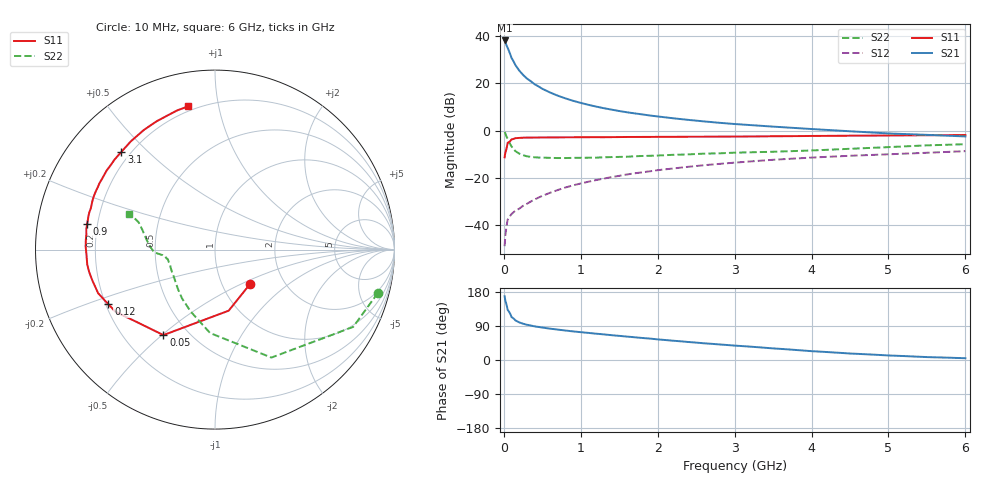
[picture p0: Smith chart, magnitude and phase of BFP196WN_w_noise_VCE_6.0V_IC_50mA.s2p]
! Infineon Technologies  Discrete & RF Semiconductors
! BFP196WN
! VCE =  6.0 V,  IC =  50 mA
! Common Emitter S-Parameters:  Jan 2017
# GHz  S  MA  R  50
!  f  S11  S21  S12  S22
! GHz  MAG  ANG  MAG  ANG  MAG  ANG  MAG  ANG
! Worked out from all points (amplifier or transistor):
!   77 points, 10 MHz to 6 GHz, reference 50 ohm
!   highest |S21| = 38.2 dB at 10 MHz (marker M1)
!   |S21| within 3 dB of that: start of sweep to 47.48 MHz
!   unconditionally stable (mu >= 1): 633.6 MHz to 2.673 GHz
!   at 130 MHz: K = 0.54, MSG = 31.8 dB, |S12| = -34.4 dB
!   at 2.2 GHz: K = 1.02, MAG = 9.7 dB, |S12| = -16.0 dB
!   at 6 GHz: K = 0.91, MSG = 3.1 dB, |S12| = -8.6 dB
!   lowest NFmin = 1.27 dB at 450 MHz
!   S11 on the Smith chart (normalised r, x): 10 MHz: 1.35, -0.56; 50 MHz: 0.37, -0.51; 120 MHz: 0.21, -0.23; 900 MHz: 0.16, +0.10; 3.1 GHz: 0.17, +0.42; 6 GHz: 0.17, +0.82
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0.01  0.274 -44.9  81.49 168.3  0.0036 80.8  0.9391 -14.9
0.02  0.3488 -77.4  74.82 156.3  0.0061 75.4  0.8823 -29.2
0.05  0.5562 -121.1  56.53 132.0  0.0132 51.6  0.6788 -62.4
0.1  0.6546 -148.2  34.79 113.3  0.0172 48.6  0.4655 -93.4
0.12  0.6676 -152.9  30.64 110.5  0.0184 48.7  0.4224 -99.7
0.15  0.6949 -159.5  24.61 104.6  0.0203 48.8  0.3699 -111.6
0.2  0.7049 -166.0  18.79 99.3  0.0224 53.5  0.3284 -124.0
0.25  0.7124 -170.1  15.2 95.7  0.0257 55.3  0.3041 -132.2
0.3  0.7166 -173.4  12.74 93.0  0.0284 57.7  0.2875 -139.1
0.4  0.7169 -178.1  9.64 88.7  0.035 61.9  0.2739 -147.5
0.5  0.7208 178.6  7.73 85.6  0.0418 64.2  0.2693 -153.6
0.6  0.7217 175.7  6.458 82.7  0.0485 65.4  0.2668 -158.0
0.7  0.7217 173.4  5.53 80.3  0.0555 67.6  0.2642 -160.9
0.9  0.7266 168.8  4.302 75.5  0.0698 67.8  0.2666 -164.9
1.1  0.7295 165.2  3.531 71.5  0.0834 68.1  0.2682 -168.0
1.3  0.7292 161.6  2.998 67.6  0.097 67.5  0.2739 -169.5
1.5  0.7347 158.4  2.612 63.7  0.111 66.8  0.2792 -171.9
2.1  0.7425 148.6  1.92 52.7  0.1525 63.4  0.3039 -174.8
3.1  0.7542 133.7  1.353 36.7  0.2173 55.6  0.3463 -179.3
4.1  0.7768 119.4  1.063 22.2  0.275 47.2  0.3883 171.0
5.1  0.7947 108.6  0.864 11.2  0.322 39.6  0.4579 160.0
6  0.8123 100.6  0.757 4.7  0.3695 33.7  0.5177 157.4
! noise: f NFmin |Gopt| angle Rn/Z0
0.45  1.27  0.53  -177  0.05
0.9  1.39  0.56  -171  0.05
1.9  2.33  0.69  -148  0.16
2.4  3.05  0.7  -140  0.28
